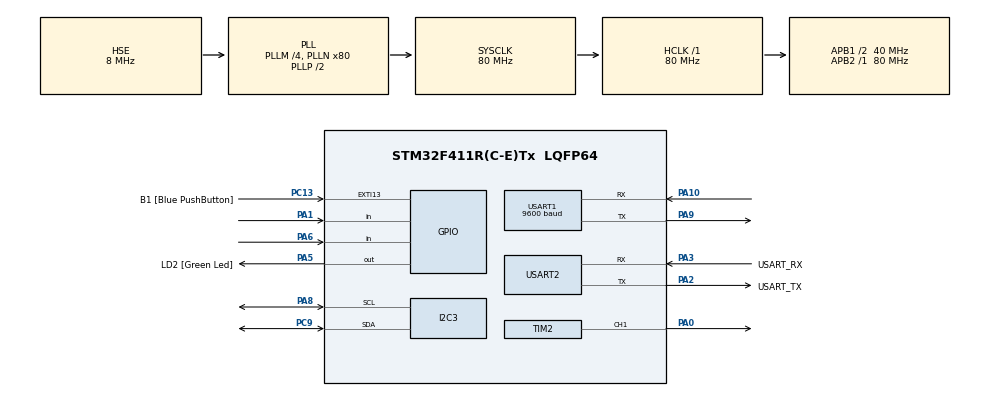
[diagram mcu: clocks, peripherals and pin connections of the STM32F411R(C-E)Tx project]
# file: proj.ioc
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FREERTOS.Tasks01=defaultTask,0,128,StartDefaultTask,Default,NULL,Dynamic,NULL,NULL
FREERTOS.configUSE_TIMERS=1
Mcu.Family=STM32F4
Mcu.Name=STM32F411R(C-E)Tx
Mcu.Package=LQFP64
NVIC.PriorityGroup=NVIC_PRIORITYGROUP_4
NVIC.TIM2_IRQn=true\:5\:0\:false\:false\:true\:true\:true\:true
NVIC.USART1_IRQn=true\:5\:0\:false\:false\:true\:true\:true\:true
PA0-WKUP.Signal=S_TIM2_CH1_ETR
PA1.Signal=GPIO_Input
PA10.Mode=Asynchronous
PA10.Signal=USART1_RX
PA13.GPIO_Label=TMS
PA13.Mode=Serial_Wire
PA13.Signal=SYS_JTMS-SWDIO
PA14.GPIO_Label=TCK
PA14.Mode=Serial_Wire
PA14.Signal=SYS_JTCK-SWCLK
PA2.GPIO_Label=USART_TX
PA2.Mode=Asynchronous
PA2.Signal=USART2_TX
PA3.GPIO_Label=USART_RX
PA3.Mode=Asynchronous
PA3.Signal=USART2_RX
PA5.GPIO_Label=LD2 [Green Led]
PA5.Signal=GPIO_Output
PA6.Signal=GPIO_Input
PA8.Mode=I2C
PA8.Signal=I2C3_SCL
PA9.Mode=Asynchronous
PA9.Signal=USART1_TX
PB3.GPIO_Label=SWO
PB3.Signal=SYS_JTDO-SWO
PC13-ANTI_TAMP.GPIO_Label=B1 [Blue PushButton]
PC13-ANTI_TAMP.GPIO_ModeDefaultEXTI=GPIO_MODE_IT_FALLING
PC13-ANTI_TAMP.Signal=GPXTI13
PC14-OSC32_IN.Mode=LSE-External-Oscillator
PC14-OSC32_IN.Signal=RCC_OSC32_IN
PC15-OSC32_OUT.Mode=LSE-External-Oscillator
PC15-OSC32_OUT.Signal=RCC_OSC32_OUT
PC9.Mode=I2C
PC9.Signal=I2C3_SDA
PH0\ -\ OSC_IN.Mode=HSE-External-Clock-Source
PH0\ -\ OSC_IN.Signal=RCC_OSC_IN
PH1\ -\ OSC_OUT.Mode=HSE-External-Clock-Source
PH1\ -\ OSC_OUT.Signal=RCC_OSC_OUT
ProjectManager.HeapSize=0x200
ProjectManager.StackSize=0x400
ProjectManager.TargetToolchain=STM32CubeIDE
RCC.48MHZClocksFreq_Value=40000000
RCC.AHBFreq_Value=80000000
RCC.APB1CLKDivider=RCC_HCLK_DIV2
RCC.APB1Freq_Value=40000000
RCC.APB1TimFreq_Value=80000000
RCC.APB2Freq_Value=80000000
RCC.APB2TimFreq_Value=80000000
RCC.CortexFreq_Value=80000000
RCC.FLatency-AdvancedSettings=FLASH_LATENCY_2
RCC.HCLKFreq_Value=80000000
RCC.HSE_VALUE=8000000
RCC.HSI_VALUE=16000000
RCC.PLLM=4
RCC.PLLN=80
RCC.PLLSourceVirtual=RCC_PLLSOURCE_HSE
RCC.SYSCLKFreq_VALUE=80000000
RCC.SYSCLKSource=RCC_SYSCLKSOURCE_PLLCLK
RCC.VCOOutputFreq_Value=160000000
SH.S_TIM2_CH1_ETR.0=TIM2_CH1,PWM Generation1 CH1
TIM2.AutoReloadPreload=TIM_AUTORELOAD_PRELOAD_ENABLE
TIM2.Channel-PWM\ Generation1\ CH1=TIM_CHANNEL_1
TIM2.Period=1000-1
TIM2.Prescaler=8000-1
USART1.BaudRate=9600
USART1.VirtualMode=VM_ASYNC
USART2.VirtualMode=VM_ASYNC
VP_FREERTOS_VS_CMSIS_V1.Mode=CMSIS_V1
board=NUCLEO-F411RE

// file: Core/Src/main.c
/* USER CODE BEGIN Header */
/**
  ******************************************************************************
  * @file           : main.c
  * @brief          : Main program body
  ******************************************************************************
  * @attention
  *
  * Copyright (c) 2022 STMicroelectronics.
  * All rights reserved.
  *
  * This software is licensed under terms that can be found in the LICENSE file
  * in the root directory of this software component.
  * If no LICENSE file comes with this software, it is provided AS-IS.
  *
  ******************************************************************************
  */
/* USER CODE END Header */
#include "main.h"
#include "cmsis_os.h"

/* USER CODE BEGIN Includes */
//#include "mlx90614.h"
/* USER CODE END Includes */

I2C_HandleTypeDef hi2c3;

TIM_HandleTypeDef htim2;

UART_HandleTypeDef huart1;
UART_HandleTypeDef huart2;

osThreadId defaultTaskHandle;

void SystemClock_Config(void);
static void MX_GPIO_Init(void);
static void MX_USART2_UART_Init(void);
static void MX_USART1_UART_Init(void);
static void MX_TIM2_Init(void);
static void MX_I2C3_Init(void);
void StartDefaultTask(void const * argument);

/* USER CODE BEGIN 0 */
char uartBuf[100];
char temp_amb[128];
char temp_obj[128];
char c;

void Detect1Task (void const *argument){
	sprintf(uartBuf,"i");

//	sprintf(temp_amb,"%f\r\n", MLX90614_ReadTemp(MLX90614_DEFAULT_SA, MLX90614_TAMB) );
//	sprintf(temp_obj,"%f\r\n", MLX90614_ReadTemp(MLX90614_DEFAULT_SA, MLX90614_TOBJ1) );

	for(;;){
		if(HAL_UART_Receive(&huart1,&c , 1, 100) == HAL_OK){
//		   HAL_UART_Transmit(&huart2, (uint8_t *)uartBuf, strlen(uartBuf), 100);
			if(c == 'd'){
				if(HAL_GPIO_ReadPin(GPIOA, GPIO_PIN_1)){
					HAL_GPIO_WritePin (GPIOA, GPIO_PIN_5, 1); // turn on LED
				   HAL_Delay (1000);
				   while (HAL_GPIO_ReadPin(GPIOA, GPIO_PIN_1)); //wait for pin to go low
				   HAL_GPIO_WritePin (GPIOA, GPIO_PIN_5, 0); // LED OFF
				   HAL_UART_Transmit(&huart1, (uint8_t *)uartBuf, strlen(uartBuf), 100);
		//		   HAL_UART_Transmit(&huart2, (uint8_t *)temp_amb, strlen(temp_amb), 100);
		//		   HAL_Delay (500);
		//		   HAL_UART_Transmit(&huart2, (uint8_t *)temp_obj, strlen(temp_obj), 100);
		//		   HAL_Delay (500);
				}
			}
		}
	}
}

//void Detect2Task (void const *argument){
//	sprintf(uartBuf,"o");
//
//	for(;;){
//		if(HAL_GPIO_ReadPin(GPIOA, GPIO_PIN_6)){
//			HAL_GPIO_WritePin (GPIOA, GPIO_PIN_5, 1); // turn on LED
//
//		   HAL_Delay (1000);
//		   while (HAL_GPIO_ReadPin(GPIOA, GPIO_PIN_6)); //wait for pin to go low
//		   HAL_GPIO_WritePin (GPIOA, GPIO_PIN_5, 0); // LED OFF
//		   HAL_UART_Transmit(&huart1, (uint8_t *)uartBuf, strlen(uartBuf), 100);
//		}
//	}
//}

//void HAL_TIM_PeriodElapsedCallback(TIM_HandleTypeDef *htim) {
//	if (htim->Instance == TIM2) {
//		htim2.Instance->CCR1 = 112;
//		HAL_Delay(4000);
//		htim2.Instance->CCR1 = 35;
//		HAL_Delay(1000);
//	}
//}

/* USER CODE END 0 */

int main(void)
{

  /* MCU Configuration--------------------------------------------------------*/

  /* Reset of all peripherals, Initializes the Flash interface and the Systick. */
  HAL_Init();

  /* Configure the system clock */
  SystemClock_Config();

  /* Initialize all configured peripherals */
  MX_GPIO_Init();
  MX_USART2_UART_Init();
  MX_USART1_UART_Init();
  MX_TIM2_Init();
  MX_I2C3_Init();
  /* USER CODE BEGIN 2 */

  HAL_TIM_PWM_Start(&htim2, TIM_CHANNEL_1);
//  HAL_TIM_Base_Start_IT(&htim2);

  /* USER CODE END 2 */

  /* Create the thread(s) */
  /* definition and creation of defaultTask */
  osThreadDef(defaultTask, StartDefaultTask, osPriorityNormal, 0, 128);
  defaultTaskHandle = osThreadCreate(osThread(defaultTask), NULL);

  /* USER CODE BEGIN RTOS_THREADS */
  /* add threads, ... */
  osThreadDef(A, Detect1Task , osPriorityNormal, 0,128);
  osThreadId Detect1Handle = osThreadCreate(osThread(A), NULL);

//  osThreadDef(B, Detect2Task , osPriorityNormal, 0,128);
//  osThreadId Detect2Handle = osThreadCreate(osThread(B), NULL);
  /* USER CODE END RTOS_THREADS */

  /* Start scheduler */
  osKernelStart();

  /* We should never get here as control is now taken by the scheduler */
  /* Infinite loop */
  /* USER CODE BEGIN WHILE */
  while (1)
  {
//	  HAL_UART_Transmit(&huart1, &c, 1, 100);
    /* USER CODE END WHILE */

  }
}

void SystemClock_Config(void)
{
  RCC_OscInitTypeDef RCC_OscInitStruct = {0};
  RCC_ClkInitTypeDef RCC_ClkInitStruct = {0};

  /** Configure the main internal regulator output voltage
  */
  __HAL_RCC_PWR_CLK_ENABLE();
  __HAL_PWR_VOLTAGESCALING_CONFIG(PWR_REGULATOR_VOLTAGE_SCALE1);
  /** Initializes the RCC Oscillators according to the specified parameters
  * in the RCC_OscInitTypeDef structure.
  */
  RCC_OscInitStruct.OscillatorType = RCC_OSCILLATORTYPE_HSE;
  RCC_OscInitStruct.HSEState = RCC_HSE_BYPASS;
  RCC_OscInitStruct.PLL.PLLState = RCC_PLL_ON;
  RCC_OscInitStruct.PLL.PLLSource = RCC_PLLSOURCE_HSE;
  RCC_OscInitStruct.PLL.PLLM = 4;
  RCC_OscInitStruct.PLL.PLLN = 80;
  RCC_OscInitStruct.PLL.PLLP = RCC_PLLP_DIV2;
  RCC_OscInitStruct.PLL.PLLQ = 4;
  if (HAL_RCC_OscConfig(&RCC_OscInitStruct) != HAL_OK)
  {
    Error_Handler();
  }
  /** Initializes the CPU, AHB and APB buses clocks
  */
  RCC_ClkInitStruct.ClockType = RCC_CLOCKTYPE_HCLK|RCC_CLOCKTYPE_SYSCLK
                              |RCC_CLOCKTYPE_PCLK1|RCC_CLOCKTYPE_PCLK2;
  RCC_ClkInitStruct.SYSCLKSource = RCC_SYSCLKSOURCE_PLLCLK;
  RCC_ClkInitStruct.AHBCLKDivider = RCC_SYSCLK_DIV1;
  RCC_ClkInitStruct.APB1CLKDivider = RCC_HCLK_DIV2;
  RCC_ClkInitStruct.APB2CLKDivider = RCC_HCLK_DIV1;

  if (HAL_RCC_ClockConfig(&RCC_ClkInitStruct, FLASH_LATENCY_2) != HAL_OK)
  {
    Error_Handler();
  }
}

static void MX_I2C3_Init(void)
{

  hi2c3.Instance = I2C3;
  hi2c3.Init.ClockSpeed = 100000;
  hi2c3.Init.DutyCycle = I2C_DUTYCYCLE_2;
  hi2c3.Init.OwnAddress1 = 0;
  hi2c3.Init.AddressingMode = I2C_ADDRESSINGMODE_7BIT;
  hi2c3.Init.DualAddressMode = I2C_DUALADDRESS_DISABLE;
  hi2c3.Init.OwnAddress2 = 0;
  hi2c3.Init.GeneralCallMode = I2C_GENERALCALL_DISABLE;
  hi2c3.Init.NoStretchMode = I2C_NOSTRETCH_DISABLE;
  if (HAL_I2C_Init(&hi2c3) != HAL_OK)
  {
    Error_Handler();
  }

}

static void MX_TIM2_Init(void)
{

  TIM_MasterConfigTypeDef sMasterConfig = {0};
  TIM_OC_InitTypeDef sConfigOC = {0};

  htim2.Instance = TIM2;
  htim2.Init.Prescaler = 8000-1;
  htim2.Init.CounterMode = TIM_COUNTERMODE_UP;
  htim2.Init.Period = 1000-1;
  htim2.Init.ClockDivision = TIM_CLOCKDIVISION_DIV1;
  htim2.Init.AutoReloadPreload = TIM_AUTORELOAD_PRELOAD_ENABLE;
  if (HAL_TIM_PWM_Init(&htim2) != HAL_OK)
  {
    Error_Handler();
  }
  sMasterConfig.MasterOutputTrigger = TIM_TRGO_RESET;
  sMasterConfig.MasterSlaveMode = TIM_MASTERSLAVEMODE_DISABLE;
  if (HAL_TIMEx_MasterConfigSynchronization(&htim2, &sMasterConfig) != HAL_OK)
  {
    Error_Handler();
  }
  sConfigOC.OCMode = TIM_OCMODE_PWM1;
  sConfigOC.Pulse = 0;
  sConfigOC.OCPolarity = TIM_OCPOLARITY_HIGH;
  sConfigOC.OCFastMode = TIM_OCFAST_DISABLE;
  if (HAL_TIM_PWM_ConfigChannel(&htim2, &sConfigOC, TIM_CHANNEL_1) != HAL_OK)
  {
    Error_Handler();
  }
  HAL_TIM_MspPostInit(&htim2);

}

static void MX_USART1_UART_Init(void)
{

  huart1.Instance = USART1;
  huart1.Init.BaudRate = 9600;
  huart1.Init.WordLength = UART_WORDLENGTH_8B;
  huart1.Init.StopBits = UART_STOPBITS_1;
  huart1.Init.Parity = UART_PARITY_NONE;
  huart1.Init.Mode = UART_MODE_TX_RX;
  huart1.Init.HwFlowCtl = UART_HWCONTROL_NONE;
  huart1.Init.OverSampling = UART_OVERSAMPLING_16;
  if (HAL_UART_Init(&huart1) != HAL_OK)
  {
    Error_Handler();
  }

}

static void MX_USART2_UART_Init(void)
{

  huart2.Instance = USART2;
  huart2.Init.BaudRate = 115200;
  huart2.Init.WordLength = UART_WORDLENGTH_8B;
  huart2.Init.StopBits = UART_STOPBITS_1;
  huart2.Init.Parity = UART_PARITY_NONE;
  huart2.Init.Mode = UART_MODE_TX_RX;
  huart2.Init.HwFlowCtl = UART_HWCONTROL_NONE;
  huart2.Init.OverSampling = UART_OVERSAMPLING_16;
  if (HAL_UART_Init(&huart2) != HAL_OK)
  {
    Error_Handler();
  }

}

static void MX_GPIO_Init(void)
{
  GPIO_InitTypeDef GPIO_InitStruct = {0};

  /* GPIO Ports Clock Enable */
  __HAL_RCC_GPIOC_CLK_ENABLE();
  __HAL_RCC_GPIOH_CLK_ENABLE();
  __HAL_RCC_GPIOA_CLK_ENABLE();
  __HAL_RCC_GPIOB_CLK_ENABLE();

  /*Configure GPIO pin Output Level */
  HAL_GPIO_WritePin(LD2_GPIO_Port, LD2_Pin, GPIO_PIN_RESET);

  /*Configure GPIO pin : B1_Pin */
  GPIO_InitStruct.Pin = B1_Pin;
  GPIO_InitStruct.Mode = GPIO_MODE_IT_FALLING;
  GPIO_InitStruct.Pull = GPIO_NOPULL;
  HAL_GPIO_Init(B1_GPIO_Port, &GPIO_InitStruct);

  /*Configure GPIO pins : PA1 PA6 */
  GPIO_InitStruct.Pin = GPIO_PIN_1|GPIO_PIN_6;
  GPIO_InitStruct.Mode = GPIO_MODE_INPUT;
  GPIO_InitStruct.Pull = GPIO_NOPULL;
  HAL_GPIO_Init(GPIOA, &GPIO_InitStruct);

  /*Configure GPIO pin : LD2_Pin */
  GPIO_InitStruct.Pin = LD2_Pin;
  GPIO_InitStruct.Mode = GPIO_MODE_OUTPUT_PP;
  GPIO_InitStruct.Pull = GPIO_NOPULL;
  GPIO_InitStruct.Speed = GPIO_SPEED_FREQ_LOW;
  HAL_GPIO_Init(LD2_GPIO_Port, &GPIO_InitStruct);

}

void StartDefaultTask(void const * argument)
{
  for(;;)
  {
    osDelay(1);
  }
}

void Error_Handler(void)
{
  __disable_irq();
  while (1)
  {
  }
}
